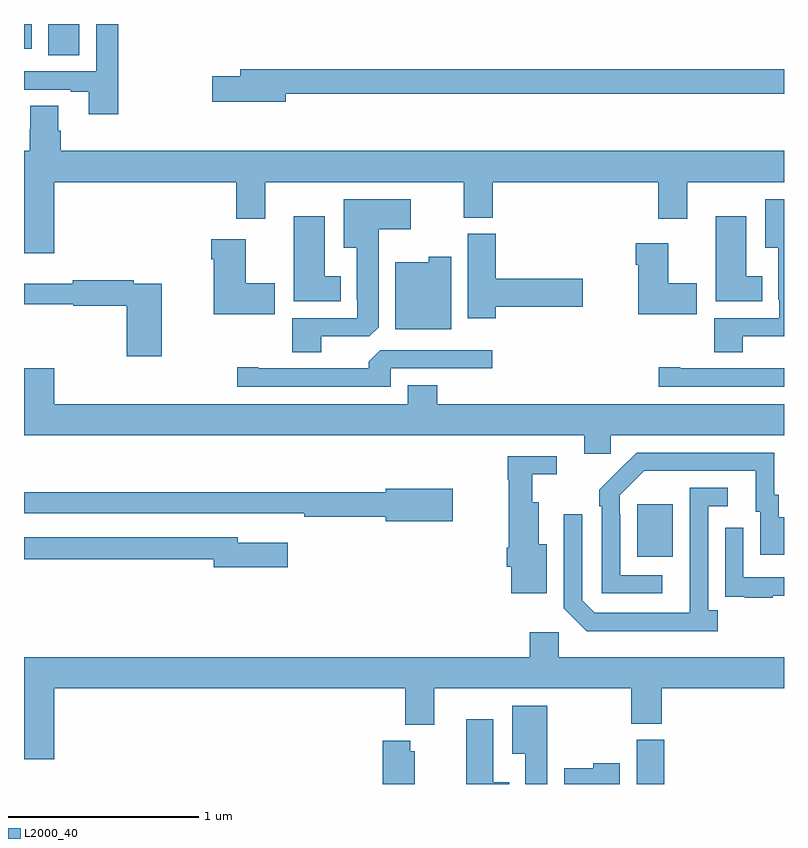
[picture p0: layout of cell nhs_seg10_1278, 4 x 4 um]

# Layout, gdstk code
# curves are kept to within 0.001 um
import gdstk
lib = gdstk.Library(unit=1e-6, precision=1e-09)
def R(c, l, rs):  # rectangles x0, y0, x1, y1
    for r in rs: c.add(gdstk.rectangle(r[:2], r[2:], *l))
def P(c, l, *ps):  # polygons
    for p in ps: c.add(gdstk.Polygon(p, *l))
L2000_40 = (2000, 40)

nhs_seg10_1278 = lib.new_cell('nhs_seg10_1278')
R(nhs_seg10_1278, L2000_40, [(180.224,1278.5,180.371,1278.732), (180.227,1279.697,180.415,1279.972), (177.128,1282.336,177.292,1282.5), (177,1282.371,177.04,1282.5)])
P(nhs_seg10_1278, L2000_40, [(177.497,1282.5),(177.381,1282.5),(177.381,1282.251),(177,1282.251),(177,1282.155),(177.245,1282.155),(177.245,1282.143),(177.341,1282.143),(177.341,1282.026),(177.497,1282.026)],
  [(178.378,1282.134),(181,1282.134),(181,1282.262),(178.139,1282.262),(178.139,1282.226),(177.99,1282.226),(177.99,1282.091),(178.378,1282.091)],
  [(177.16,1281.668),(178.118,1281.668),(178.118,1281.474),(178.27,1281.474),(178.27,1281.668),(179.315,1281.668),(179.315,1281.481),(179.468,1281.481),(179.468,1281.668),(180.338,1281.668),(180.338,1281.474),(180.49,1281.474),(180.49,1281.668),(181,1281.668),(181,1281.832),(177.194,1281.832),(177.194,1281.938),(177.181,1281.938),(177.181,1282.07),(177.034,1282.07),(177.034,1281.945),(177.029,1281.945),(177.029,1281.832),(177,1281.832),(177,1281.294),(177.16,1281.294)],
  [(180.784,1280.856),(181,1280.856),(181,1281.577),(180.902,1281.577),(180.902,1281.323),(180.971,1281.323),(180.971,1281.049),(180.975,1281.049),(180.975,1280.952),(180.632,1280.952),(180.632,1280.773),(180.784,1280.773)],
  [(178.564,1280.856),(178.818,1280.856),(178.867,1280.905),(178.867,1281.419),(179.035,1281.419),(179.035,1281.577),(178.682,1281.577),(178.682,1281.323),(178.751,1281.323),(178.751,1281.049),(178.755,1281.049),(178.755,1280.952),(178.412,1280.952),(178.412,1280.773),(178.564,1280.773)],
  [(180.886,1281.172),(180.802,1281.172),(180.802,1281.487),(180.641,1281.487),(180.641,1281.041),(180.886,1281.041)],
  [(178.666,1281.172),(178.582,1281.172),(178.582,1281.487),(178.421,1281.487),(178.421,1281.041),(178.666,1281.041)],
  [(179.483,1281.011),(179.941,1281.011),(179.941,1281.158),(179.483,1281.158),(179.483,1281.396),(179.336,1281.396),(179.336,1280.952),(179.483,1280.952)],
  [(178.321,1281.135),(178.168,1281.135),(178.168,1281.367),(177.986,1281.367),(177.986,1281.263),(177.998,1281.263),(177.998,1280.972),(178.321,1280.972)],
  [(180.541,1281.135),(180.391,1281.135),(180.391,1281.346),(180.221,1281.346),(180.221,1281.233),(180.233,1281.233),(180.233,1280.972),(180.541,1280.972)],
  [(179.248,1281.274),(179.13,1281.274),(179.13,1281.247),(178.955,1281.247),(178.955,1280.894),(179.248,1280.894)],
  [(177.725,1281.132),(177.578,1281.132),(177.578,1281.152),(177.256,1281.152),(177.256,1281.133),(177,1281.133),(177,1281.024),(177.258,1281.024),(177.258,1281.016),(177.542,1281.016),(177.542,1280.751),(177.725,1280.751)],
  [(178.929,1280.688),(179.464,1280.688),(179.464,1280.784),(178.875,1280.784),(178.814,1280.722),(178.814,1280.688),(178.234,1280.688),(178.234,1280.693),(178.122,1280.693),(178.122,1280.592),(178.929,1280.592)],
  [(181,1280.688),(180.454,1280.688),(180.454,1280.693),(180.342,1280.693),(180.342,1280.592),(181,1280.592)],
  [(179.174,1280.599),(179.021,1280.599),(179.021,1280.5),(177.16,1280.5),(177.16,1280.689),(177,1280.689),(177,1280.336),(179.948,1280.336),(179.948,1280.238),(180.087,1280.238),(180.087,1280.336),(181,1280.336),(181,1280.5),(179.174,1280.5)],
  [(180.358,1279.599),(180.138,1279.599),(180.138,1279.919),(180.135,1279.919),(180.135,1280.019),(180.264,1280.148),(180.851,1280.148),(180.851,1279.932),(180.875,1279.932),(180.875,1279.707),(181,1279.707),(181,1279.903),(180.973,1279.903),(180.973,1280.022),(180.948,1280.022),(180.948,1280.244),(180.224,1280.244),(180.027,1280.049),(180.027,1279.961),(180.042,1279.961),(180.042,1279.503),(180.358,1279.503)],
  [(179.752,1279.762),(179.71,1279.762),(179.71,1279.984),(179.674,1279.984),(179.674,1280.129),(179.803,1280.129),(179.803,1280.226),(179.545,1280.226),(179.545,1280.102),(179.552,1280.102),(179.552,1279.744),(179.54,1279.744),(179.54,1279.644),(179.564,1279.644),(179.564,1279.505),(179.752,1279.505)],
  [(180.652,1279.414),(180.6,1279.414),(180.6,1279.962),(180.703,1279.962),(180.703,1280.058),(180.504,1280.058),(180.503,1279.401),(180.003,1279.401),(179.937,1279.467),(179.937,1279.921),(179.841,1279.921),(179.841,1279.425),(179.962,1279.304),(180.652,1279.304)],
  [(179.257,1280.053),(178.904,1280.053),(178.904,1280.035),(177,1280.035),(177,1279.926),(178.222,1279.926),(178.222,1279.925),(178.474,1279.925),(178.474,1279.906),(178.904,1279.906),(178.904,1279.883),(179.257,1279.883)],
  [(180.941,1279.491),(181,1279.491),(181,1279.587),(180.786,1279.587),(180.786,1279.849),(180.69,1279.849),(180.69,1279.594),(180.691,1279.594),(180.691,1279.485),(180.793,1279.485),(180.793,1279.479),(180.941,1279.479)],
  [(178.387,1279.771),(178.126,1279.771),(178.126,1279.8),(177,1279.8),(177,1279.684),(177.998,1279.684),(177.998,1279.642),(178.387,1279.642)],
  [(177.16,1279.004),(179.006,1279.004),(179.006,1278.812),(179.158,1278.812),(179.158,1279.004),(180.196,1279.004),(180.196,1278.817),(180.356,1278.817),(180.356,1279.004),(181,1279.004),(181,1279.168),(179.814,1279.168),(179.814,1279.3),(179.663,1279.3),(179.663,1279.168),(177,1279.168),(177,1278.63),(177.16,1278.63)],
  [(179.755,1278.913),(179.57,1278.913),(179.57,1278.659),(179.639,1278.659),(179.639,1278.5),(179.755,1278.5)],
  [(179.554,1278.508),(179.47,1278.508),(179.47,1278.841),(179.327,1278.841),(179.327,1278.5),(179.554,1278.5)],
  [(179.056,1278.673),(179.034,1278.673),(179.034,1278.727),(178.889,1278.727),(178.889,1278.5),(179.056,1278.5)],
  [(180.136,1278.61),(179.997,1278.61),(179.997,1278.583),(179.843,1278.583),(179.843,1278.5),(180.136,1278.5)])

lib.write_gds('nhs_seg10_1278.gds')
